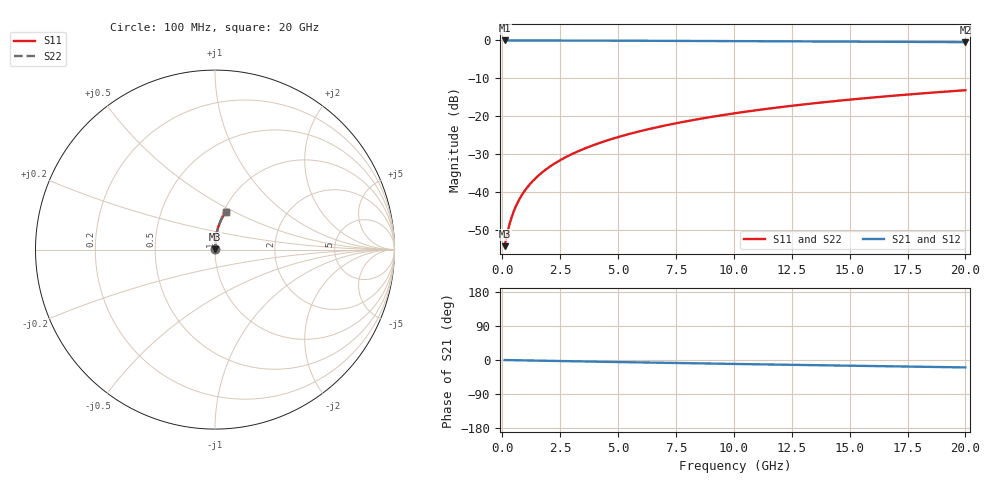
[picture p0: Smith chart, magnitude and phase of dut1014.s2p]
! Touchstone file exported from HFSS 2024.1.0
!  File:  C:/UserFiles/LocalFiles/RDL_TSV_Batchsim/temp_RDL_bottom_1014_1780050455.aedt
!  Generated:  06:29:49 PM May 29, 2026
!  Design:  RDL_bottom
!  Project:  temp_RDL_bottom_1014_1780050455
!  Setup:  Setup1
!  Solution:  Sweep
! Variables:
!  dtsv = 10.80580581um
!  hbump = 3um
!  htsv = 58.44um
!  ldown = 252.5um
!  lrdl = 100um
!  p = 40
!  p1 = 42.59um
!  rhole = 1um
!  t = 450um
!  tdown = 3.79um
!  trdl = 3.915915916um
!  wdown = 16.69um
!  wrdl = 20um
# GHz S MA R 50.000000
! Terminal data exported
! Port[1] = RDL1_T1
! Port[2] = RDL1_T2
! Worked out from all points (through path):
!   200 points, 100 MHz to 20 GHz, reference 50 ohm
!   highest |S21| = -0.01 dB at 100 MHz (marker M1); lowest = -0.5 dB at 20 GHz (marker M2)
!   group delay of S21, straight-line fit = 2.7 ps
!   lowest |S11| = -54.3 dB at 100 MHz (marker M3), VSWR 1.00, Z = 50.2 + j0.113 ohm
!   |S11| at or under -10 dB: start of sweep to end of sweep
!   |S22| runs from -54.3 to -13.1 dB; largest |S21 - S12| = 3.9e-15
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0.1  0.001938 35.4  0.9984 -0.1  0.9984 -0.1  0.001938 35.4
! Gamma 0 0 0 0
! Port Impedance 50 0 50 0
0.2  0.002736 53.5  0.9984 -0.2  0.9984 -0.2  0.002736 53.5
0.3  0.003658 62.9  0.9983 -0.3  0.9983 -0.3  0.003658 62.9
0.4  0.004632 68.5  0.9982 -0.5  0.9982 -0.5  0.004632 68.5
0.5  0.005631 72.1  0.9982 -0.6  0.9982 -0.6  0.005632 72.1
0.6  0.006644 74.6  0.9981 -0.7  0.9981 -0.7  0.006644 74.6
0.8  0.008686 77.9  0.998 -0.9  0.998 -0.9  0.008687 77.9
1.1  0.01177 80.7  0.9978 -1.2  0.9978 -1.2  0.01177 80.7
1.5  0.01591 82.8  0.9975 -1.7  0.9975 -1.7  0.01591 82.8
1.8  0.01903 83.7  0.9972 -2.0  0.9972 -2.0  0.01903 83.7
2.1  0.02216 84.4  0.9968 -2.3  0.9968 -2.3  0.02216 84.4
2.7  0.02846 85.2  0.996 -3.0  0.996 -3.0  0.02846 85.2
3.5  0.03695 85.7  0.9947 -3.8  0.9947 -3.8  0.03695 85.7
4.2  0.04446 85.8  0.9934 -4.6  0.9934 -4.6  0.04446 85.8
5  0.05313 85.8  0.9917 -5.4  0.9917 -5.4  0.05313 85.8
5.9  0.063 85.5  0.9896 -6.3  0.9896 -6.3  0.063 85.5
6.8  0.07297 85.2  0.9873 -7.2  0.9873 -7.2  0.07298 85.2
8.3  0.08979 84.3  0.9833 -8.7  0.9833 -8.7  0.0898 84.3
10.1  0.1102 83.0  0.9783 -10.5  0.9783 -10.5  0.1102 83.0
13.4  0.1476 80.1  0.9688 -13.6  0.9688 -13.6  0.1476 80.1
16.7  0.1845 77.0  0.959 -16.6  0.959 -16.6  0.1845 77.0
20  0.2203 73.9  0.9486 -19.6  0.9486 -19.6  0.2203 73.9
